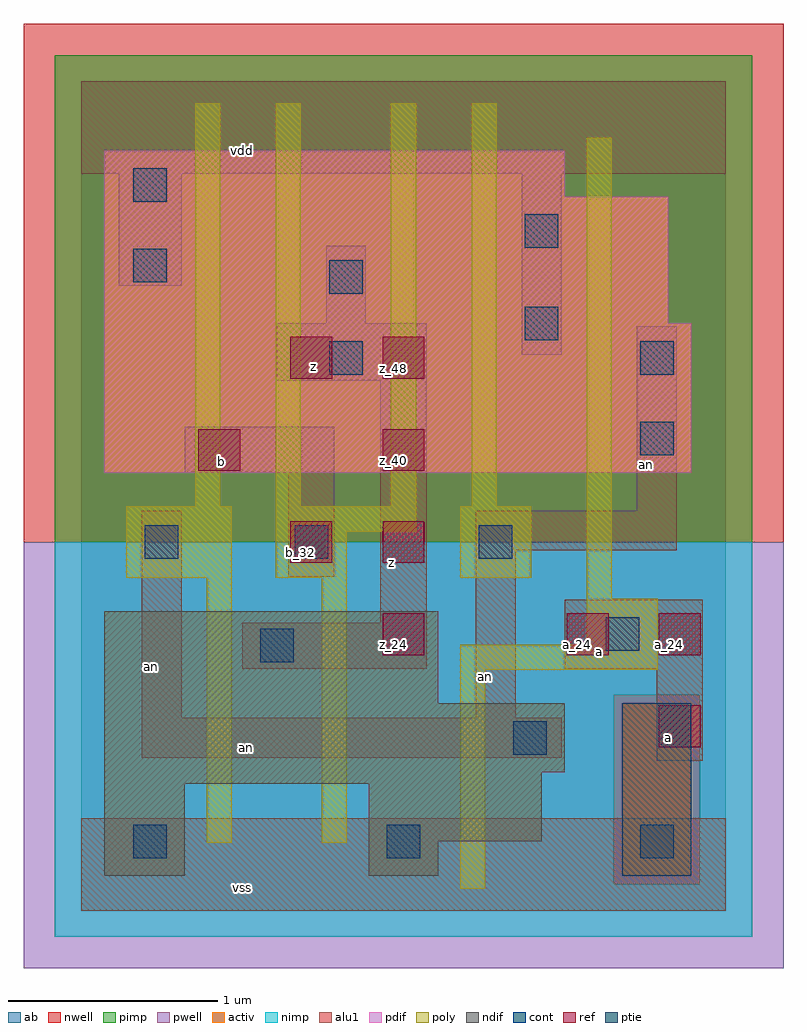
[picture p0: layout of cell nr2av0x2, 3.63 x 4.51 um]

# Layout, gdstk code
import gdstk
lib = gdstk.Library(unit=1e-6, precision=2.5e-09)
def R(c, l, rs):  # rectangles x0, y0, x1, y1
    for r in rs: c.add(gdstk.rectangle(r[:2], r[2:], *l))
def A(c, l, x, y, w, h, nx, ny, dx, dy):  # array of equal rectangles
    R(c, l, [(x+i*dx, y+j*dy, x+i*dx+w, y+j*dy+h) for i in range(nx) for j in range(ny)])
ndif = (3, 0)
pdif = (4, 0)
ptie = (6, 0)
ref = (24, 0)
cont = (25, 0)
pwell = (41, 0)
nwell = (42, 0)
activ = (43, 0)
pimp = (44, 0)
nimp = (45, 0)
poly = (46, 0)
alu1 = (49, 0)
ab = (63, 0)

nr2av0x2 = lib.new_cell('nr2av0x2')
R(nr2av0x2, ndif, [(0.11,0.165,0.495,0.605), (1.375,0.165,1.705,0.33), (1.375,0.33,2.2,0.605), (0.11,0.605,2.2,0.66), (0.11,0.66,2.31,0.99), (0.11,0.99,1.705,1.43)])
R(nr2av0x2, pdif, [(0.11,2.09,2.915,2.805), (0.11,2.805,2.805,3.41), (0.11,3.41,2.31,3.63)])
R(nr2av0x2, ptie, [(2.585,0.165,2.915,0.99)])
A(nr2av0x2, ref, 1.44, 1.22, 0.2, 0.2, 1, 4, 0, 0.44)
R(nr2av0x2, ref, [(2.76,0.78,2.96,0.98), (2.32,1.22,2.52,1.42), (2.76,1.22,2.96,1.42), (1,1.66,1.2,1.86), (0.56,2.1,0.76,2.3), (1,2.54,1.2,2.74)])
A(nr2av0x2, cont, 0.25, 0.25, 0.16, 0.16, 3, 1, 1.21, 0)
R(nr2av0x2, cont, [(2.065,0.745,2.225,0.905), (0.855,1.185,1.015,1.345), (2.505,1.24,2.665,1.4), (0.305,1.68,0.465,1.84), (1.02,1.68,1.18,1.84), (1.9,1.68,2.06,1.84), (2.67,2.175,2.83,2.335), (1.185,2.56,1.345,2.72), (2.67,2.56,2.83,2.72), (2.12,2.725,2.28,2.885), (1.185,2.945,1.345,3.105), (0.25,3,0.41,3.16), (2.12,3.165,2.28,3.325), (0.25,3.385,0.41,3.545)])
R(nr2av0x2, pwell, [(-0.275,-0.275,3.355,1.76)])
R(nr2av0x2, nwell, [(-0.275,1.76,3.355,4.235)])
R(nr2av0x2, activ, [(0.11,0.165,0.495,0.605), (1.375,0.165,1.705,0.33), (2.585,0.165,2.915,0.99), (1.375,0.33,2.2,0.605), (0.11,0.605,2.2,0.66), (0.11,0.66,2.31,0.99), (0.11,0.99,1.705,1.43), (0.11,2.09,2.915,2.805), (0.11,2.805,2.805,3.41), (0.11,3.41,2.31,3.63)])
R(nr2av0x2, pimp, [(2.545,0.125,2.955,1.03), (-0.125,1.76,3.205,4.085)])
R(nr2av0x2, nimp, [(-0.125,-0.125,3.205,0.125), (-0.125,0.125,2.545,1.03), (2.955,0.125,3.205,1.03), (-0.125,1.03,3.205,1.76)])
R(nr2av0x2, poly, [(1.81,0.105,1.93,1.15), (0.6,0.325,0.72,1.59), (1.15,0.325,1.27,1.59), (1.81,1.15,2.755,1.27), (2.415,1.27,2.755,1.49), (2.415,1.49,2.535,3.69), (0.215,1.59,0.72,1.93), (0.93,1.59,1.27,1.81), (1.81,1.59,2.15,1.93), (0.93,1.81,1.6,1.93), (0.545,1.93,0.665,3.855), (0.93,1.93,1.05,3.855), (1.48,1.93,1.6,3.855), (1.865,1.93,1.985,3.855)])
R(nr2av0x2, alu1, [(0,0,3.08,0.44), (2.75,0.715,2.97,1.155), (0.29,0.73,2.295,0.92), (0.29,0.92,0.48,1.91), (1.885,0.92,2.075,1.72), (0.77,1.155,1.65,1.375), (2.31,1.155,2.97,1.485), (1.43,1.375,1.65,2.53), (0.99,1.595,1.21,2.09), (1.885,1.72,2.845,1.91), (2.655,1.91,2.845,2.79), (0.495,2.09,1.21,2.31), (0.935,2.53,1.65,2.805), (2.105,2.655,2.295,3.52), (1.17,2.805,1.36,3.175), (0.18,2.985,0.48,3.52), (0,3.52,3.08,3.96)])
R(nr2av0x2, ab, [(0,0,3.08,3.96)])
nr2av0x2.add(gdstk.Label('vss', (0.77,0.11), layer=49, texttype=0))
nr2av0x2.add(gdstk.Label('a', (2.805,0.825), layer=49, texttype=0))
nr2av0x2.add(gdstk.Label('an', (0.79,0.7775), layer=49, texttype=0))
nr2av0x2.add(gdstk.Label('a', (2.475,1.2375), layer=49, texttype=0))
nr2av0x2.add(gdstk.Label('an', (1.9325,1.12), layer=49, texttype=0))
nr2av0x2.add(gdstk.Label('an', (2.7025,2.13), layer=49, texttype=0))
nr2av0x2.add(gdstk.Label('z', (1.485,1.6625), layer=49, texttype=0))
nr2av0x2.add(gdstk.Label('an', (0.3375,1.1675), layer=49, texttype=0))
nr2av0x2.add(gdstk.Label('b', (0.6725,2.145), layer=49, texttype=0))
nr2av0x2.add(gdstk.Label('z', (1.1125,2.5975), layer=49, texttype=0))
nr2av0x2.add(gdstk.Label('vdd', (0.77,3.63), layer=49, texttype=0))
nr2av0x2.add(gdstk.Label('b_40', (0.61,2.15), layer=24, texttype=0))
nr2av0x2.add(gdstk.Label('b_32', (1.05,1.71), layer=24, texttype=0))
nr2av0x2.add(gdstk.Label('z_48', (1.05,2.59), layer=24, texttype=0))
nr2av0x2.add(gdstk.Label('z_24', (1.49,1.27), layer=24, texttype=0))
nr2av0x2.add(gdstk.Label('z_32', (1.49,1.71), layer=24, texttype=0))
nr2av0x2.add(gdstk.Label('z_40', (1.49,2.15), layer=24, texttype=0))
nr2av0x2.add(gdstk.Label('z_48', (1.49,2.59), layer=24, texttype=0))
nr2av0x2.add(gdstk.Label('a_24', (2.37,1.27), layer=24, texttype=0))
nr2av0x2.add(gdstk.Label('a_16', (2.81,0.83), layer=24, texttype=0))
nr2av0x2.add(gdstk.Label('a_24', (2.81,1.27), layer=24, texttype=0))

lib.write_gds('nr2av0x2.gds')
